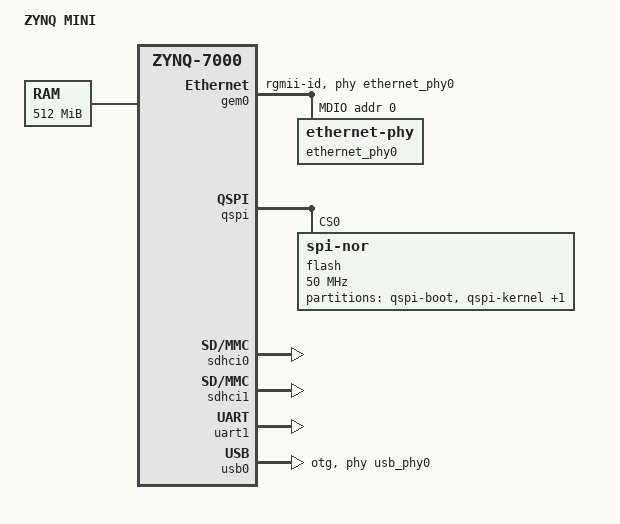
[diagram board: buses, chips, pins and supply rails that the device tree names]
// SPDX-License-Identifier: GPL-2.0-or-later
/*
 * ZYNQ MINI (Bochen Jingxin, XC7Z010-1CLG400, 512 MB DDR3): Linux device tree, hand-written from the board specification
 * (docs/) on top of the kernel's zynq-7000.dtsi. No Vivado/PetaLinux-generated input.
 */
/dts-v1/;
#include "zynq-7000.dtsi"

/ {
	model = "ZYNQ MINI";
	compatible = "xlnx,zynq-7000";

	aliases {
		ethernet0 = &gem0;
		serial0 = &uart1;
		spi0 = &qspi;
		mmc0 = &sdhci0;
		mmc1 = &sdhci1;
	};

	chosen {
		bootargs = "root=/dev/mmcblk0p2 rw rootfstype=ext4 rootwait earlycon devtmpfs.mount=1 clk_ignore_unused uio_pdrv_genirq.of_id=generic-uio";
		stdout-path = "serial0:115200n8";
	};

	memory@0 {
		device_type = "memory";
		reg = <0x0 0x20000000>;                 /* 512 MB */
	};

	/* ULPI USB PHY (USB3320) behind the PS USB0 controller */
	usb_phy0: phy0 {
		compatible = "ulpi-phy";
		#phy-cells = <0>;
		reg = <0xe0002000 0x1000>;
		view-port = <0x170>;
		drv-vbus;
	};

	/* IRQ_F2P[0] (GIC SPI 61) and the GP0 window, exposed to user space as /dev/uioN named "fabric" */
	fabric@40000000 {
		compatible = "generic-uio";
		reg = <0x40000000 0x10000>;
		interrupt-parent = <&intc>;
		interrupts = <0 29 4>;
	};
};

&clkc {
	ps-clk-frequency = <33333333>;              /* 33.333 MHz PS crystal */
	fclk-enable = <0x0>;
};

&cpu0 {
	operating-points = <666666 1000000 333333 1000000>;
};

&gpio0 {
	emio-gpio-width = <64>;
	gpio-mask-high = <0x0>;
	gpio-mask-low = <0x5600>;
};

&gem0 {                                          /* PS Ethernet: RTL8211E on MIO16-27, RGMII with PHY-side delays */
	status = "okay";
	phy-mode = "rgmii-id";
	phy-handle = <&ethernet_phy0>;
	xlnx,ptp-enet-clock = <0x69f6bcb>;
	mdio {
		#address-cells = <1>;
		#size-cells = <0>;
		ethernet_phy0: ethernet-phy@0 {
			reg = <0>;
			device_type = "ethernet-phy";
		};
	};
};

&qspi {                                          /* W25Q128 (16 MB) */
	status = "okay";
	is-dual = <0>;
	num-cs = <1>;
	spi-rx-bus-width = <4>;
	spi-tx-bus-width = <4>;
	flash@0 {
		compatible = "jedec,spi-nor";
		reg = <0>;
		spi-max-frequency = <50000000>;
		#address-cells = <1>;
		#size-cells = <1>;
		partition@0 { label = "qspi-boot";    reg = <0x000000 0x500000>; };
		partition@1 { label = "qspi-kernel";  reg = <0x500000 0xa80000>; };
		partition@2 { label = "qspi-bootenv"; reg = <0xf80000 0x020000>; };
	};
};

&sdhci0 {                                        /* SD0 (boot card) */
	status = "okay";
	xlnx,has-cd = <0>;
	xlnx,has-power = <0>;
	xlnx,has-wp = <0>;
};

&sdhci1 {                                        /* SD1, hot-pluggable: no card-detect line routed */
	status = "okay";
	xlnx,has-cd = <0>;
	xlnx,has-power = <0>;
	xlnx,has-wp = <0>;
	broken-cd;
};

&uart1 {                                         /* console on MIO48/49 */
	status = "okay";
	cts-override;
	device_type = "serial";
	port-number = <0>;
};

&usb0 {                                          /* PS USB: host/device switching via the role switch */
	status = "okay";
	phy_type = "ulpi";
	usb-phy = <&usb_phy0>;
	usb-reset = <&gpio0 46 0>;
	dr_mode = "otg";
	usb-role-switch;
};
